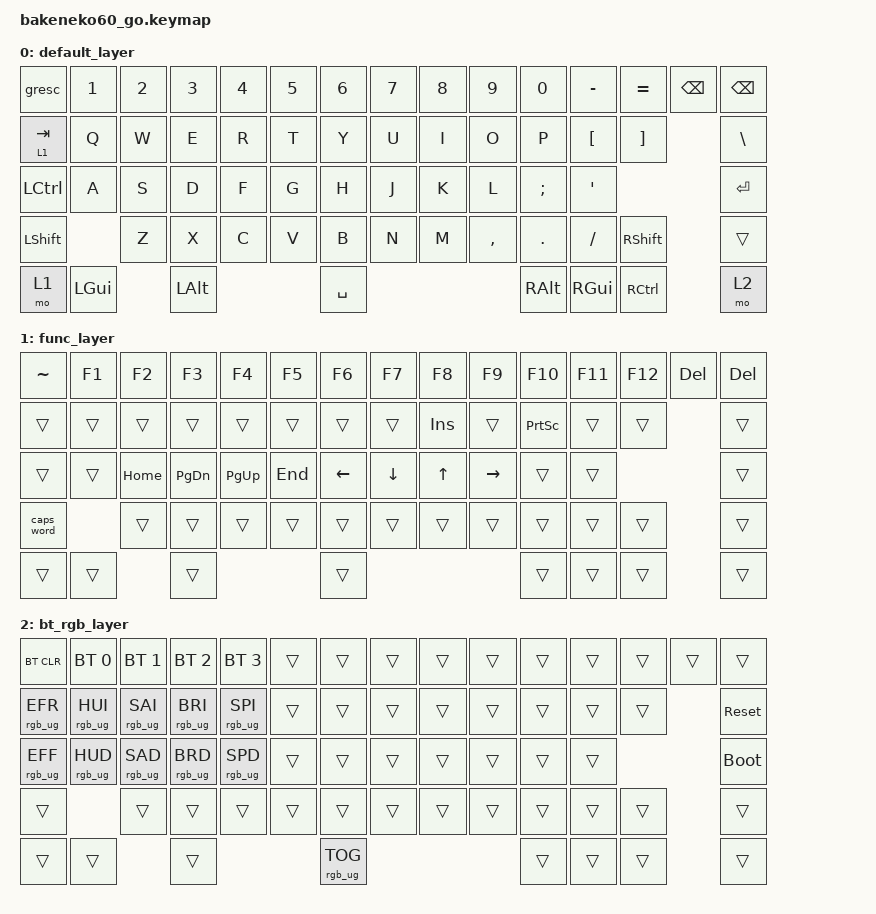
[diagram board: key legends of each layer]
/*
 * Copyright (c) 2023 Andrew Kannan
 *
 * SPDX-License-Identifier: MIT
 */

#include <behaviors.dtsi>
#include <dt-bindings/zmk/bt.h>
#include <dt-bindings/zmk/keys.h>
#include <dt-bindings/zmk/rgb.h>

/ {
    keymap {
        compatible = "zmk,keymap";

        default_layer {
            // ------------------------------------------------------------------------------------------
            // | ESC |  1  |  2  |  3  |  4  |  5  |  6  |  7  |  8  |  9  |  0  |  -  |  =  | BKSP|BKSP|
            // | TAB  |  Q  |  W  |  E  |  R  |  T  |  Y  |  U  |  I  |  O  |  P  |  [  |  ]  |   "|"   |
            // | CAPS  |  A  |  S  |  D  |  F  |  G  |  H  |  J  |  K  |  L  |  ;  |  '  |     ENTER    |
            // |  SHIFT  |  Z  |  X  |  C  |  V  |  B  |  N  |  M  |  ,  |  .  |  /  |  SHIFT  | MO(1)  |
            // |  CTL  |  WIN  |  ALT  |            SPACE              |  ALT  |  WIN  |  MO(1) |  CTL  |
            // ------------------------------------------------------------------------------------------

            bindings = <
&gresc     &kp N1    &kp N2  &kp N3    &kp N4  &kp N5  &kp N6     &kp N7  &kp N8  &kp N9     &kp N0    &kp MINUS      &kp EQUAL  &kp BSPC  &kp BACKSPACE
&lt 1 TAB  &kp Q     &kp W   &kp E     &kp R   &kp T   &kp Y      &kp U   &kp I   &kp O      &kp P     &kp LBKT       &kp RBKT             &kp BSLH
&kp LCTRL  &kp A     &kp S   &kp D     &kp F   &kp G   &kp H      &kp J   &kp K   &kp L      &kp SEMI  &kp SQT                             &kp RET
&kp LSHFT            &kp Z   &kp X     &kp C   &kp V   &kp B      &kp N   &kp M   &kp COMMA  &kp DOT   &kp FSLH       &kp RSHFT            &trans
&mo 1      &kp LGUI          &kp LALT                  &kp SPACE                             &kp RALT  &kp RIGHT_GUI  &kp RCTRL            &mo 2
            >;
        };

        func_layer {
            bindings = <
&kp TILDE   &kp F1  &kp F2    &kp F3     &kp F4     &kp F5   &kp F6          &kp F7          &kp F8        &kp F9     &kp F10          &kp F11  &kp F12  &kp DEL  &kp DEL
&trans      &trans  &trans    &trans     &trans     &trans   &trans          &trans          &kp INS       &trans     &kp PRINTSCREEN  &trans   &trans            &trans
&trans      &trans  &kp HOME  &kp PG_DN  &kp PG_UP  &kp END  &kp LEFT_ARROW  &kp DOWN_ARROW  &kp UP_ARROW  &kp RIGHT  &trans           &trans                     &trans
&caps_word          &trans    &trans     &trans     &trans   &trans          &trans          &trans        &trans     &trans           &trans   &trans            &trans
&trans      &trans            &trans                         &trans                                                   &trans           &trans   &trans            &trans
            >;
        };

        bt_rgb_layer {
            // ------------------------------------------------------------------------------------------------
            // | BT CLR |     |     |     |     |     |     |     |     |     |     |    |    |       |       |
            // |  BT 1   |   |     |   |       |       |       |       |   |     |    |     |     |           |
            // |   BT 2   |    |      |    |       |       |       |       |      |      |      |  |   Reset  |
            // |    BT 3     |     |      |      |     |     |     |     |     |     |     |         |        |
            // |   BT 4  |      |      |                                    |         |       |       |       |
            // ------------------------------------------------------------------------------------------------

            bindings = <
&bt BT_CLR       &bt BT_SEL 0     &bt BT_SEL 1     &bt BT_SEL 2     &bt BT_SEL 3     &trans  &trans           &trans  &trans  &trans  &trans  &trans  &trans  &trans  &trans
&rgb_ug RGB_EFR  &rgb_ug RGB_HUI  &rgb_ug RGB_SAI  &rgb_ug RGB_BRI  &rgb_ug RGB_SPI  &trans  &trans           &trans  &trans  &trans  &trans  &trans  &trans          &sys_reset
&rgb_ug RGB_EFF  &rgb_ug RGB_HUD  &rgb_ug RGB_SAD  &rgb_ug RGB_BRD  &rgb_ug RGB_SPD  &trans  &trans           &trans  &trans  &trans  &trans  &trans                  &bootloader
&trans                            &trans           &trans           &trans           &trans  &trans           &trans  &trans  &trans  &trans  &trans  &trans          &trans
&trans           &trans                            &trans                                    &rgb_ug RGB_TOG                          &trans  &trans  &trans          &trans
            >;
        };
    };

    combos { compatible = "zmk,combos"; };
};
